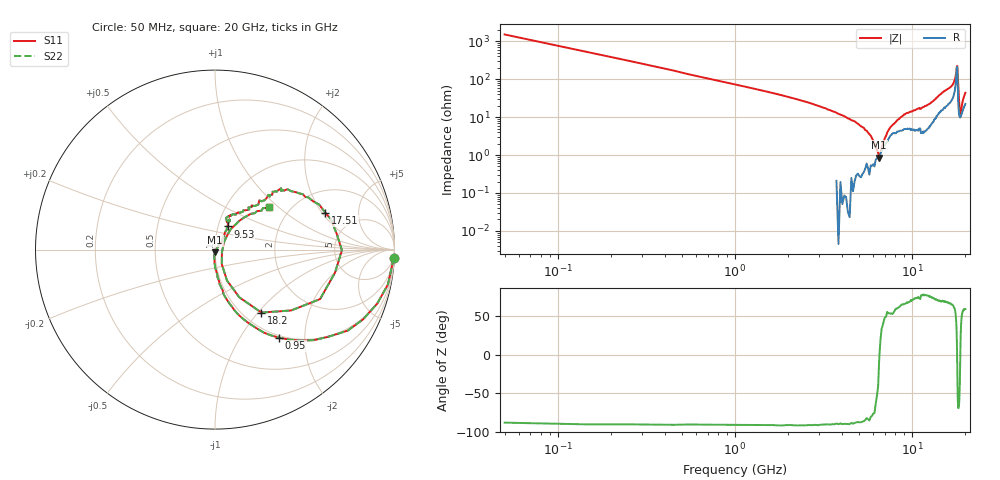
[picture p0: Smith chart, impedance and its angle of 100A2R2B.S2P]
!  American Technical Ceramics  Date:  3/13/98
!  One Norden Lane
!  Huntington Station,  NY.  11746-2102
!  Tel:  (516) 547-5700  Fax:  (516) 547-5748
!  Part Number  100A2R2B
!  Description: Porcelain, High Q, Low ESR
!  Application: Bypass, Coupling, Timing, Feedback
!  Tuning, Impedance Match, Blocking
# GHZ S DB R 50
! Freq  |S11|  S11 Ph  |S21|  S21 Ph  |S12|  S12 Ph  |S22|  S22 Ph
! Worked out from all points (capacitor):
!   201 points, 50 MHz to 20 GHz, reference 50 ohm
!   read as one part in series: C = 2.08 pF near 150 MHz
!   lowest |Z| = 859 mohm at 6.53 GHz (marker M1)
!   series resonance near 6.541 GHz, so ESL is about 280 pH
!   S11 on the Smith chart (normalised r, x): 50 MHz: 3, -42; 950 MHz: 0.97, -1.50; 9.53 GHz: 1.11, +0.29; 17.51 GHz: 3.05, +2.15; 18.2 GHz: 1.20, -1.04; 20 GHz: 1.56, +0.87
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0.05  -0.03 -2.7  -23.59 85.2  -23.59 85.2  -0.03 -2.7
0.15  -0.15 -11.4  -14.28 78.8  -14.28 78.8  -0.15 -11.4
0.35  -0.80 -25.2  -7.58 65.2  -7.58 65.2  -0.80 -25.2
0.95  -4.33 -53.9  -2.07 37.5  -2.07 37.5  -4.33 -53.9
1.85  -9.07 -72.4  -0.59 20.7  -0.59 20.7  -9.07 -72.4
3.44  -16.33 -85.1  -0.17 8.6  -0.17 8.6  -16.33 -85.1
5.74  -26.00 -94.9  -0.11 1.2  -0.11 1.2  -26.00 -94.9
6.53  -36.91 -90.8  -0.15 -0.8  -0.15 -0.8  -36.91 -90.8
6.73  -44.54 -37.6  -0.18 -1.2  -0.18 -1.2  -44.54 -37.6
7.23  -30.61 48.9  -0.22 -2.3  -0.22 -2.3  -30.61 48.9
7.53  -26.52 47.8  -0.29 -2.7  -0.29 -2.7  -26.52 47.8
9.53  -16.65 61.1  -0.36 -5.2  -0.36 -5.2  -16.65 61.1
10.03  -15.72 63.1  -0.35 -6.0  -0.35 -6.0  -15.72 63.1
13.42  -11.06 51.7  -0.63 -13.9  -0.63 -13.9  -11.06 51.7
16.71  -5.34 36.8  -2.08 -23.2  -2.08 -23.2  -5.34 36.8
17.51  -3.77 18.4  -4.05 -33.3  -4.05 -33.3  -3.77 18.4
18.01  -3.78 -25.2  -10.97 4.6  -10.97 4.6  -3.78 -25.2
18.2  -7.21 -53.6  -5.21 27.7  -5.21 27.7  -7.21 -53.6
18.4  -14.66 -68.8  -2.29 17.3  -2.29 17.3  -14.66 -68.8
18.6  -27.65 -21.5  -1.36 7.6  -1.36 7.6  -27.65 -21.5
19  -14.74 50.5  -1.02 -3.5  -1.02 -3.5  -14.74 50.5
20  -8.35 38.4  -1.66 -16.3  -1.66 -16.3  -8.35 38.4
